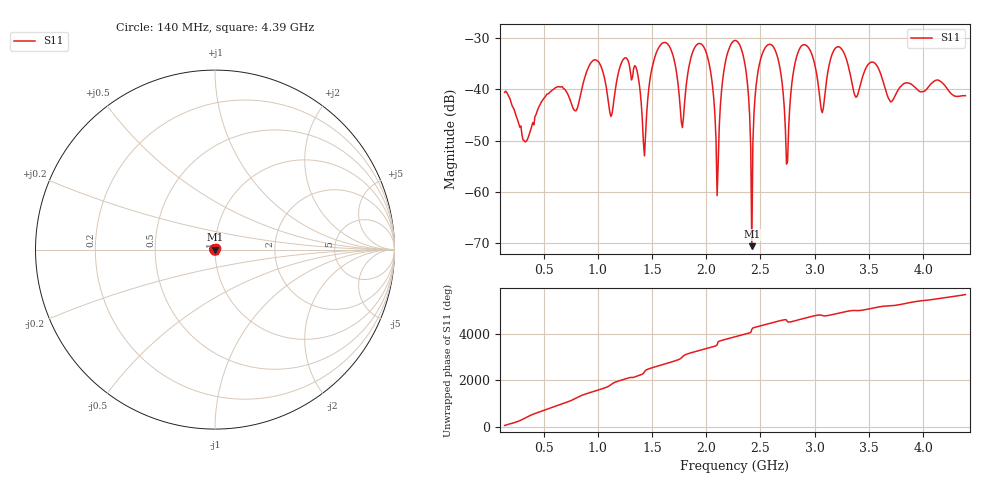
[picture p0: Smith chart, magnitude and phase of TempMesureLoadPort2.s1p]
! 140 4400 10
# MHz S MA R 50.0
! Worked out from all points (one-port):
!   426 points, 140 MHz to 4.39 GHz, reference 50 ohm
!   lowest |S11| = -70.7 dB at 2.42 GHz (marker M1), VSWR 1.00, Z = 50 - j0.0226 ohm
!   |S11| at or under -10 dB: start of sweep to end of sweep
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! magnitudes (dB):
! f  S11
! 140 MHz  -40.6
! 330 MHz  -50.3
! 680 MHz  -39.7
! 800 MHz  -44.1
! 990 MHz  -34.3
! 1.12 GHz  -45.3
! 1.21 GHz  -35.2
! 1.36 GHz  -36.2
! 1.43 GHz  -53.0
! 1.57 GHz  -31.5
! 1.74 GHz  -39.0
! 1.78 GHz  -47.5
! 1.97 GHz  -31.4
! 2.1 GHz  -60.8
! 2.17 GHz  -35.4
! 2.27 GHz  -30.4
! 2.36 GHz  -35.5
! 2.42 GHz  -70.7
! 2.54 GHz  -31.9
! 2.66 GHz  -33.9
! 2.74 GHz  -54.6
! 2.8 GHz  -37.1
! 2.9 GHz  -31.2
! 3.07 GHz  -44.6
! 3.19 GHz  -31.9
! 3.33 GHz  -37.3
! 3.86 GHz  -38.7
! 4.39 GHz  -41.2
